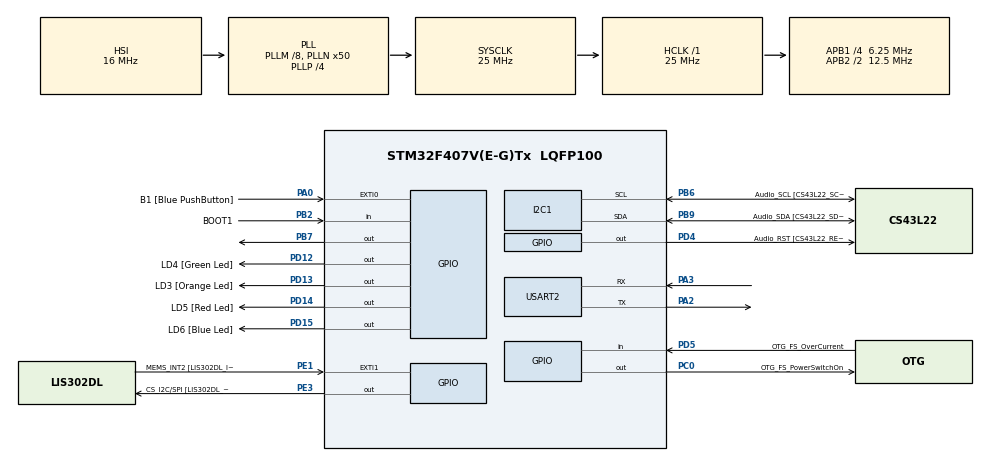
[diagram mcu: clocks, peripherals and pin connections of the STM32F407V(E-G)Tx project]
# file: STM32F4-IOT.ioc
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Mcu.Family=STM32F4
Mcu.Name=STM32F407V(E-G)Tx
Mcu.Package=LQFP100
NVIC.PriorityGroup=NVIC_PRIORITYGROUP_0
NVIC.USART2_IRQn=true\:0\:0\:false\:false\:true\:true\:true\:true
PA0-WKUP.GPIO_Label=B1 [Blue PushButton]
PA0-WKUP.Signal=GPXTI0
PA10.GPIO_Label=OTG_FS_ID
PA10.GPIO_Mode=GPIO_MODE_AF_PP
PA10.GPIO_PuPd=GPIO_NOPULL
PA10.GPIO_Speed=GPIO_SPEED_FREQ_LOW
PA10.Signal=USB_OTG_FS_ID
PA11.GPIO_Label=OTG_FS_DM
PA11.GPIO_Mode=GPIO_MODE_AF_PP
PA11.GPIO_PuPd=GPIO_NOPULL
PA11.GPIO_Speed=GPIO_SPEED_FREQ_LOW
PA11.Signal=USB_OTG_FS_DM
PA12.GPIO_Label=OTG_FS_DP
PA12.GPIO_Mode=GPIO_MODE_AF_PP
PA12.GPIO_PuPd=GPIO_NOPULL
PA12.GPIO_Speed=GPIO_SPEED_FREQ_LOW
PA12.Signal=USB_OTG_FS_DP
PA13.GPIO_Label=SWDIO
PA13.Mode=Serial_Wire
PA13.Signal=SYS_JTMS-SWDIO
PA14.GPIO_Label=SWCLK
PA14.Mode=Serial_Wire
PA14.Signal=SYS_JTCK-SWCLK
PA2.Mode=Asynchronous
PA2.Signal=USART2_TX
PA3.Mode=Asynchronous
PA3.Signal=USART2_RX
PA4.GPIO_Label=I2S3_WS [CS43L22_LRCK]
PA4.GPIO_Mode=GPIO_MODE_AF_PP
PA4.GPIO_PuPd=GPIO_NOPULL
PA4.GPIO_Speed=GPIO_SPEED_FREQ_LOW
PA4.Signal=I2S3_WS
PA5.GPIO_Label=SPI1_SCK [LIS302DL_SCL/SPC]
PA5.GPIO_Mode=GPIO_MODE_AF_PP
PA5.GPIO_PuPd=GPIO_NOPULL
PA5.GPIO_Speed=GPIO_SPEED_FREQ_LOW
PA5.Signal=SPI1_SCK
PA6.GPIO_Label=SPI1_MISO [LIS302DL_SDO]
PA6.GPIO_Mode=GPIO_MODE_AF_PP
PA6.GPIO_PuPd=GPIO_NOPULL
PA6.GPIO_Speed=GPIO_SPEED_FREQ_LOW
PA6.Signal=SPI1_MISO
PA7.GPIO_Label=SPI1_MOSI [LIS302DL_SDA/SDI/SDO]
PA7.GPIO_Mode=GPIO_MODE_AF_PP
PA7.GPIO_PuPd=GPIO_NOPULL
PA7.GPIO_Speed=GPIO_SPEED_FREQ_LOW
PA7.Signal=SPI1_MOSI
PA9.GPIO_Label=VBUS_FS
PA9.GPIO_Mode=GPIO_MODE_INPUT
PA9.GPIO_PuPd=GPIO_NOPULL
PA9.Signal=USB_OTG_FS_VBUS
PB10.GPIO_Label=CLK_IN [MP45DT02_CLK]
PB10.GPIO_Mode=GPIO_MODE_AF_PP
PB10.GPIO_PuPd=GPIO_NOPULL
PB10.GPIO_Speed=GPIO_SPEED_FREQ_LOW
PB10.Signal=I2S2_CK
PB2.GPIO_Label=BOOT1
PB2.GPIO_Mode=GPIO_MODE_INPUT
PB2.GPIO_PuPd=GPIO_NOPULL
PB2.Signal=GPIO_Input
PB3.GPIO_Label=SWO
PB3.Signal=SYS_JTDO-SWO
PB6.GPIO_Label=Audio_SCL [CS43L22_SCL]
PB6.GPIO_Mode=GPIO_MODE_AF_OD
PB6.GPIO_PuPd=GPIO_NOPULL
PB6.GPIO_Speed=GPIO_SPEED_FREQ_LOW
PB6.Mode=I2C
PB6.Signal=I2C1_SCL
PB7.Signal=GPIO_Output
PB9.GPIO_Label=Audio_SDA [CS43L22_SDA]
PB9.GPIO_Mode=GPIO_MODE_AF_OD
PB9.GPIO_PuPd=GPIO_NOPULL
PB9.GPIO_Speed=GPIO_SPEED_FREQ_LOW
PB9.Mode=I2C
PB9.Signal=I2C1_SDA
PC0.GPIO_Label=OTG_FS_PowerSwitchOn
PC0.GPIO_PuPd=GPIO_NOPULL
PC0.GPIO_Speed=GPIO_SPEED_FREQ_LOW
PC0.PinState=GPIO_PIN_SET
PC0.Signal=GPIO_Output
PC10.GPIO_Label=I2S3_SCK [CS43L22_SCLK]
PC10.GPIO_Mode=GPIO_MODE_AF_PP
PC10.GPIO_PuPd=GPIO_NOPULL
PC10.GPIO_Speed=GPIO_SPEED_FREQ_LOW
PC10.Signal=I2S3_CK
PC12.GPIO_Label=I2S3_SD [CS43L22_SDIN]
PC12.GPIO_Mode=GPIO_MODE_AF_PP
PC12.GPIO_PuPd=GPIO_NOPULL
PC12.GPIO_Speed=GPIO_SPEED_FREQ_LOW
PC12.Signal=I2S3_SD
PC14-OSC32_IN.GPIO_Label=PC14-OSC32_IN
PC14-OSC32_IN.Signal=RCC_OSC32_IN
PC15-OSC32_OUT.GPIO_Label=PC15-OSC32_OUT
PC15-OSC32_OUT.Signal=RCC_OSC32_OUT
PC3.GPIO_Label=PDM_OUT [MP45DT02_DOUT]
PC3.GPIO_Mode=GPIO_MODE_AF_PP
PC3.GPIO_PuPd=GPIO_NOPULL
PC3.GPIO_Speed=GPIO_SPEED_FREQ_LOW
PC3.Signal=I2S2_SD
PC7.GPIO_Label=I2S3_MCK [CS43L22_MCLK]
PC7.GPIO_Mode=GPIO_MODE_AF_PP
PC7.GPIO_PuPd=GPIO_NOPULL
PC7.GPIO_Speed=GPIO_SPEED_FREQ_LOW
PC7.Signal=I2S3_MCK
PD12.GPIO_Label=LD4 [Green Led]
PD12.GPIO_PuPd=GPIO_NOPULL
PD12.GPIO_Speed=GPIO_SPEED_FREQ_LOW
PD12.Signal=GPIO_Output
PD13.GPIO_Label=LD3 [Orange Led]
PD13.GPIO_PuPd=GPIO_NOPULL
PD13.GPIO_Speed=GPIO_SPEED_FREQ_LOW
PD13.Signal=GPIO_Output
PD14.GPIO_Label=LD5 [Red Led]
PD14.GPIO_PuPd=GPIO_NOPULL
PD14.GPIO_Speed=GPIO_SPEED_FREQ_LOW
PD14.Signal=GPIO_Output
PD15.GPIO_Label=LD6 [Blue Led]
PD15.GPIO_PuPd=GPIO_NOPULL
PD15.GPIO_Speed=GPIO_SPEED_FREQ_LOW
PD15.Signal=GPIO_Output
PD4.GPIO_Label=Audio_RST [CS43L22_RESET]
PD4.GPIO_PuPd=GPIO_NOPULL
PD4.GPIO_Speed=GPIO_SPEED_FREQ_LOW
PD4.Signal=GPIO_Output
PD5.GPIO_Label=OTG_FS_OverCurrent
PD5.GPIO_Mode=GPIO_MODE_INPUT
PD5.GPIO_PuPd=GPIO_NOPULL
PD5.Signal=GPIO_Input
PE1.GPIO_Label=MEMS_INT2 [LIS302DL_INT2]
PE1.GPIO_ModeDefaultEXTI=GPIO_MODE_EVT_RISING
PE1.GPIO_PuPd=GPIO_NOPULL
PE1.Signal=GPXTI1
PE3.GPIO_Label=CS_I2C/SPI [LIS302DL_CS_I2C/SPI]
PE3.GPIO_PuPd=GPIO_NOPULL
PE3.GPIO_Speed=GPIO_SPEED_FREQ_LOW
PE3.Signal=GPIO_Output
PH0-OSC_IN.GPIO_Label=PH0-OSC_IN
PH0-OSC_IN.Signal=RCC_OSC_IN
PH1-OSC_OUT.GPIO_Label=PH1-OSC_OUT
PH1-OSC_OUT.Signal=RCC_OSC_OUT
ProjectManager.HeapSize=0x200
ProjectManager.StackSize=0x400
ProjectManager.TargetToolchain=STM32CubeIDE
RCC.48MHZClocksFreq_Value=14285714.285714285
RCC.AHBFreq_Value=25000000
RCC.APB1CLKDivider=RCC_HCLK_DIV4
RCC.APB1Freq_Value=6250000
RCC.APB1TimFreq_Value=12500000
RCC.APB2CLKDivider=RCC_HCLK_DIV2
RCC.APB2Freq_Value=12500000
RCC.APB2TimFreq_Value=25000000
RCC.CortexFreq_Value=25000000
RCC.HCLKFreq_Value=25000000
RCC.HSE_VALUE=8000000
RCC.HSI_VALUE=16000000
RCC.LSE_VALUE=32768
RCC.PLLM=8
RCC.PLLN=50
RCC.PLLP=RCC_PLLP_DIV4
RCC.PLLQ=7
RCC.SYSCLKFreq_VALUE=25000000
RCC.SYSCLKSource=RCC_SYSCLKSOURCE_PLLCLK
RCC.VCOOutputFreq_Value=100000000
TIM2.Prescaler=24
USART2.VirtualMode=VM_ASYNC
VP_TIM2_VS_ClockSourceINT.Mode=Internal
VP_TIM2_VS_ClockSourceITR.Mode=TriggerSource_ITR0
board=STM32F407G-DISC1

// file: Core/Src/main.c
/* USER CODE BEGIN Header */
/**
  ******************************************************************************
  * @file           : main.c
  * @brief          : Main program body
  ******************************************************************************
  * @attention
  *
  * Copyright (c) 2025 STMicroelectronics.
  * All rights reserved.
  *
  * This software is licensed under terms that can be found in the LICENSE file
  * in the root directory of this software component.
  * If no LICENSE file comes with this software, it is provided AS-IS.
  *
  ******************************************************************************
  */
/* USER CODE END Header */
#include "main.h"

/* USER CODE BEGIN Includes */
#include "stdio.h"
#include "DS3231.h"
#include "string.h"
#include "UART_lib.h"
#include "ring_buf.h"
/* USER CODE END Includes */

I2C_HandleTypeDef hi2c1;

TIM_HandleTypeDef htim2;

UART_HandleTypeDef huart2;

void SystemClock_Config(void);
static void MX_GPIO_Init(void);
static void MX_I2C1_Init(void);
static void MX_USART2_UART_Init(void);
static void MX_TIM2_Init(void);

/* USER CODE BEGIN 0 */
DateTime_t dt;
uint8_t rxByte;
CIRC_BBUF_DEF(my_circ_buf, 32);

void HAL_UART_RxCpltCallback(UART_HandleTypeDef *huart){
	if(huart->Instance == USART2){
		static uint8_t flagLog = 0;
		if(rxByte == START_BYTE){
			flagLog = 1;
		}
		if(flagLog == 1){
			circ_bbuf_push(&my_circ_buf, rxByte);
		}

		if(rxByte == END_BYTE){
//			UART_ReceiveFrame(&my_circ_buf);
			flagLog = 0;
		}
		HAL_UART_Receive_IT(&huart2, &rxByte, 1);
	}
}

void MyFrameHandler(uint8_t cmd, uint8_t *data, uint8_t len){
	switch (cmd) {
		case CMD_TIME:
			DS3231_ReadTime(&dt);
			UART_SendFrame(CMD_TIME_RESP, (uint8_t*)&dt, sizeof(dt));
			break;
		case CMD_TEMP:
			DS3231_ReadTemp(&dt);
			UART_SendFrame(CMD_TEMP_RESP, (uint8_t*)&dt, sizeof(dt));
			break;
		case CMD_LED:{
			static uint8_t led_state = 0; // mặc định tắt
			if(strncmp((char*)data,"ON", 2) == 0){
				led_state = LED_ON;
				//TURN ON
				HAL_GPIO_WritePin(GPIOD, GPIO_PIN_15, GPIO_PIN_SET);

			}else if(strncmp((char*)data,"OFF", 3) == 0){
				//TURN OFF
				led_state = LED_OFF;
				HAL_GPIO_WritePin(GPIOD, GPIO_PIN_15, GPIO_PIN_RESET);
			}
			UART_SendFrame(CMD_LED_RESP, (uint8_t*)&led_state, sizeof(led_state));
			break;
		}
		default:
			break;
	}
}

/* USER CODE END 0 */

int main(void)
{

  /* MCU Configuration--------------------------------------------------------*/

  /* Reset of all peripherals, Initializes the Flash interface and the Systick. */
  HAL_Init();

  /* Configure the system clock */
  SystemClock_Config();

  /* Initialize all configured peripherals */
  MX_GPIO_Init();
  MX_I2C1_Init();
  MX_USART2_UART_Init();
  MX_TIM2_Init();
  /* USER CODE BEGIN 2 */
  DS3231_Init(&dt);
//  DS3231_Write(&dt);

  // Đăng ký callback
  UART_RegisterCallback(MyFrameHandler);

  /* USER CODE END 2 */

  /* Infinite loop */
  /* USER CODE BEGIN WHILE */
  HAL_UART_Receive_IT(&huart2, &rxByte, 1);

  while (1)
  {
    /* USER CODE END WHILE */

    /* USER CODE BEGIN 3 */
	 if(rxByte == END_BYTE){
		 UART_ReceiveFrame(&my_circ_buf);
	 }
  }
  /* USER CODE END 3 */
}

void SystemClock_Config(void)
{
  RCC_OscInitTypeDef RCC_OscInitStruct = {0};
  RCC_ClkInitTypeDef RCC_ClkInitStruct = {0};

  /** Configure the main internal regulator output voltage
  */
  __HAL_RCC_PWR_CLK_ENABLE();
  __HAL_PWR_VOLTAGESCALING_CONFIG(PWR_REGULATOR_VOLTAGE_SCALE1);

  /** Initializes the RCC Oscillators according to the specified parameters
  * in the RCC_OscInitTypeDef structure.
  */
  RCC_OscInitStruct.OscillatorType = RCC_OSCILLATORTYPE_HSI;
  RCC_OscInitStruct.HSIState = RCC_HSI_ON;
  RCC_OscInitStruct.HSICalibrationValue = RCC_HSICALIBRATION_DEFAULT;
  RCC_OscInitStruct.PLL.PLLState = RCC_PLL_ON;
  RCC_OscInitStruct.PLL.PLLSource = RCC_PLLSOURCE_HSI;
  RCC_OscInitStruct.PLL.PLLM = 8;
  RCC_OscInitStruct.PLL.PLLN = 50;
  RCC_OscInitStruct.PLL.PLLP = RCC_PLLP_DIV4;
  RCC_OscInitStruct.PLL.PLLQ = 7;
  if (HAL_RCC_OscConfig(&RCC_OscInitStruct) != HAL_OK)
  {
    Error_Handler();
  }

  /** Initializes the CPU, AHB and APB buses clocks
  */
  RCC_ClkInitStruct.ClockType = RCC_CLOCKTYPE_HCLK|RCC_CLOCKTYPE_SYSCLK
                              |RCC_CLOCKTYPE_PCLK1|RCC_CLOCKTYPE_PCLK2;
  RCC_ClkInitStruct.SYSCLKSource = RCC_SYSCLKSOURCE_PLLCLK;
  RCC_ClkInitStruct.AHBCLKDivider = RCC_SYSCLK_DIV1;
  RCC_ClkInitStruct.APB1CLKDivider = RCC_HCLK_DIV4;
  RCC_ClkInitStruct.APB2CLKDivider = RCC_HCLK_DIV2;

  if (HAL_RCC_ClockConfig(&RCC_ClkInitStruct, FLASH_LATENCY_0) != HAL_OK)
  {
    Error_Handler();
  }
}

static void MX_I2C1_Init(void)
{

  hi2c1.Instance = I2C1;
  hi2c1.Init.ClockSpeed = 100000;
  hi2c1.Init.DutyCycle = I2C_DUTYCYCLE_2;
  hi2c1.Init.OwnAddress1 = 0;
  hi2c1.Init.AddressingMode = I2C_ADDRESSINGMODE_7BIT;
  hi2c1.Init.DualAddressMode = I2C_DUALADDRESS_DISABLE;
  hi2c1.Init.OwnAddress2 = 0;
  hi2c1.Init.GeneralCallMode = I2C_GENERALCALL_DISABLE;
  hi2c1.Init.NoStretchMode = I2C_NOSTRETCH_DISABLE;
  if (HAL_I2C_Init(&hi2c1) != HAL_OK)
  {
    Error_Handler();
  }

}

static void MX_TIM2_Init(void)
{

  TIM_ClockConfigTypeDef sClockSourceConfig = {0};
  TIM_SlaveConfigTypeDef sSlaveConfig = {0};
  TIM_MasterConfigTypeDef sMasterConfig = {0};

  htim2.Instance = TIM2;
  htim2.Init.Prescaler = 24;
  htim2.Init.CounterMode = TIM_COUNTERMODE_UP;
  htim2.Init.Period = 4294967295;
  htim2.Init.ClockDivision = TIM_CLOCKDIVISION_DIV1;
  htim2.Init.AutoReloadPreload = TIM_AUTORELOAD_PRELOAD_DISABLE;
  if (HAL_TIM_Base_Init(&htim2) != HAL_OK)
  {
    Error_Handler();
  }
  sClockSourceConfig.ClockSource = TIM_CLOCKSOURCE_INTERNAL;
  if (HAL_TIM_ConfigClockSource(&htim2, &sClockSourceConfig) != HAL_OK)
  {
    Error_Handler();
  }
  sSlaveConfig.SlaveMode = TIM_SLAVEMODE_DISABLE;
  sSlaveConfig.InputTrigger = TIM_TS_ITR0;
  if (HAL_TIM_SlaveConfigSynchro(&htim2, &sSlaveConfig) != HAL_OK)
  {
    Error_Handler();
  }
  sMasterConfig.MasterOutputTrigger = TIM_TRGO_RESET;
  sMasterConfig.MasterSlaveMode = TIM_MASTERSLAVEMODE_DISABLE;
  if (HAL_TIMEx_MasterConfigSynchronization(&htim2, &sMasterConfig) != HAL_OK)
  {
    Error_Handler();
  }

}

static void MX_USART2_UART_Init(void)
{

  huart2.Instance = USART2;
  huart2.Init.BaudRate = 115200;
  huart2.Init.WordLength = UART_WORDLENGTH_8B;
  huart2.Init.StopBits = UART_STOPBITS_1;
  huart2.Init.Parity = UART_PARITY_NONE;
  huart2.Init.Mode = UART_MODE_TX_RX;
  huart2.Init.HwFlowCtl = UART_HWCONTROL_NONE;
  huart2.Init.OverSampling = UART_OVERSAMPLING_16;
  if (HAL_UART_Init(&huart2) != HAL_OK)
  {
    Error_Handler();
  }

}

static void MX_GPIO_Init(void)
{
  GPIO_InitTypeDef GPIO_InitStruct = {0};

  /* GPIO Ports Clock Enable */
  __HAL_RCC_GPIOE_CLK_ENABLE();
  __HAL_RCC_GPIOC_CLK_ENABLE();
  __HAL_RCC_GPIOH_CLK_ENABLE();
  __HAL_RCC_GPIOA_CLK_ENABLE();
  __HAL_RCC_GPIOB_CLK_ENABLE();
  __HAL_RCC_GPIOD_CLK_ENABLE();

  /*Configure GPIO pin Output Level */
  HAL_GPIO_WritePin(CS_I2C_SPI_GPIO_Port, CS_I2C_SPI_Pin, GPIO_PIN_RESET);

  /*Configure GPIO pin Output Level */
  HAL_GPIO_WritePin(OTG_FS_PowerSwitchOn_GPIO_Port, OTG_FS_PowerSwitchOn_Pin, GPIO_PIN_SET);

  /*Configure GPIO pin Output Level */
  HAL_GPIO_WritePin(GPIOD, LD4_Pin|LD3_Pin|LD5_Pin|LD6_Pin
                          |Audio_RST_Pin, GPIO_PIN_RESET);

  /*Configure GPIO pin Output Level */
  HAL_GPIO_WritePin(GPIOB, GPIO_PIN_7, GPIO_PIN_RESET);

  /*Configure GPIO pin : CS_I2C_SPI_Pin */
  GPIO_InitStruct.Pin = CS_I2C_SPI_Pin;
  GPIO_InitStruct.Mode = GPIO_MODE_OUTPUT_PP;
  GPIO_InitStruct.Pull = GPIO_NOPULL;
  GPIO_InitStruct.Speed = GPIO_SPEED_FREQ_LOW;
  HAL_GPIO_Init(CS_I2C_SPI_GPIO_Port, &GPIO_InitStruct);

  /*Configure GPIO pin : OTG_FS_PowerSwitchOn_Pin */
  GPIO_InitStruct.Pin = OTG_FS_PowerSwitchOn_Pin;
  GPIO_InitStruct.Mode = GPIO_MODE_OUTPUT_PP;
  GPIO_InitStruct.Pull = GPIO_NOPULL;
  GPIO_InitStruct.Speed = GPIO_SPEED_FREQ_LOW;
  HAL_GPIO_Init(OTG_FS_PowerSwitchOn_GPIO_Port, &GPIO_InitStruct);

  /*Configure GPIO pin : PDM_OUT_Pin */
  GPIO_InitStruct.Pin = PDM_OUT_Pin;
  GPIO_InitStruct.Mode = GPIO_MODE_AF_PP;
  GPIO_InitStruct.Pull = GPIO_NOPULL;
  GPIO_InitStruct.Speed = GPIO_SPEED_FREQ_LOW;
  GPIO_InitStruct.Alternate = GPIO_AF5_SPI2;
  HAL_GPIO_Init(PDM_OUT_GPIO_Port, &GPIO_InitStruct);

  /*Configure GPIO pin : B1_Pin */
  GPIO_InitStruct.Pin = B1_Pin;
  GPIO_InitStruct.Mode = GPIO_MODE_IT_RISING;
  GPIO_InitStruct.Pull = GPIO_NOPULL;
  HAL_GPIO_Init(B1_GPIO_Port, &GPIO_InitStruct);

  /*Configure GPIO pin : I2S3_WS_Pin */
  GPIO_InitStruct.Pin = I2S3_WS_Pin;
  GPIO_InitStruct.Mode = GPIO_MODE_AF_PP;
  GPIO_InitStruct.Pull = GPIO_NOPULL;
  GPIO_InitStruct.Speed = GPIO_SPEED_FREQ_LOW;
  GPIO_InitStruct.Alternate = GPIO_AF6_SPI3;
  HAL_GPIO_Init(I2S3_WS_GPIO_Port, &GPIO_InitStruct);

  /*Configure GPIO pins : SPI1_SCK_Pin SPI1_MISO_Pin SPI1_MOSI_Pin */
  GPIO_InitStruct.Pin = SPI1_SCK_Pin|SPI1_MISO_Pin|SPI1_MOSI_Pin;
  GPIO_InitStruct.Mode = GPIO_MODE_AF_PP;
  GPIO_InitStruct.Pull = GPIO_NOPULL;
  GPIO_InitStruct.Speed = GPIO_SPEED_FREQ_LOW;
  GPIO_InitStruct.Alternate = GPIO_AF5_SPI1;
  HAL_GPIO_Init(GPIOA, &GPIO_InitStruct);

  /*Configure GPIO pin : BOOT1_Pin */
  GPIO_InitStruct.Pin = BOOT1_Pin;
  GPIO_InitStruct.Mode = GPIO_MODE_INPUT;
  GPIO_InitStruct.Pull = GPIO_NOPULL;
  HAL_GPIO_Init(BOOT1_GPIO_Port, &GPIO_InitStruct);

  /*Configure GPIO pin : CLK_IN_Pin */
  GPIO_InitStruct.Pin = CLK_IN_Pin;
  GPIO_InitStruct.Mode = GPIO_MODE_AF_PP;
  GPIO_InitStruct.Pull = GPIO_NOPULL;
  GPIO_InitStruct.Speed = GPIO_SPEED_FREQ_LOW;
  GPIO_InitStruct.Alternate = GPIO_AF5_SPI2;
  HAL_GPIO_Init(CLK_IN_GPIO_Port, &GPIO_InitStruct);

  /*Configure GPIO pins : LD4_Pin LD3_Pin LD5_Pin LD6_Pin
                           Audio_RST_Pin */
  GPIO_InitStruct.Pin = LD4_Pin|LD3_Pin|LD5_Pin|LD6_Pin
                          |Audio_RST_Pin;
  GPIO_InitStruct.Mode = GPIO_MODE_OUTPUT_PP;
  GPIO_InitStruct.Pull = GPIO_NOPULL;
  GPIO_InitStruct.Speed = GPIO_SPEED_FREQ_LOW;
  HAL_GPIO_Init(GPIOD, &GPIO_InitStruct);

  /*Configure GPIO pins : I2S3_MCK_Pin I2S3_SCK_Pin I2S3_SD_Pin */
  GPIO_InitStruct.Pin = I2S3_MCK_Pin|I2S3_SCK_Pin|I2S3_SD_Pin;
  GPIO_InitStruct.Mode = GPIO_MODE_AF_PP;
  GPIO_InitStruct.Pull = GPIO_NOPULL;
  GPIO_InitStruct.Speed = GPIO_SPEED_FREQ_LOW;
  GPIO_InitStruct.Alternate = GPIO_AF6_SPI3;
  HAL_GPIO_Init(GPIOC, &GPIO_InitStruct);

  /*Configure GPIO pin : VBUS_FS_Pin */
  GPIO_InitStruct.Pin = VBUS_FS_Pin;
  GPIO_InitStruct.Mode = GPIO_MODE_INPUT;
  GPIO_InitStruct.Pull = GPIO_NOPULL;
  HAL_GPIO_Init(VBUS_FS_GPIO_Port, &GPIO_InitStruct);

  /*Configure GPIO pins : OTG_FS_ID_Pin OTG_FS_DM_Pin OTG_FS_DP_Pin */
  GPIO_InitStruct.Pin = OTG_FS_ID_Pin|OTG_FS_DM_Pin|OTG_FS_DP_Pin;
  GPIO_InitStruct.Mode = GPIO_MODE_AF_PP;
  GPIO_InitStruct.Pull = GPIO_NOPULL;
  GPIO_InitStruct.Speed = GPIO_SPEED_FREQ_LOW;
  GPIO_InitStruct.Alternate = GPIO_AF10_OTG_FS;
  HAL_GPIO_Init(GPIOA, &GPIO_InitStruct);

  /*Configure GPIO pin : OTG_FS_OverCurrent_Pin */
  GPIO_InitStruct.Pin = OTG_FS_OverCurrent_Pin;
  GPIO_InitStruct.Mode = GPIO_MODE_INPUT;
  GPIO_InitStruct.Pull = GPIO_NOPULL;
  HAL_GPIO_Init(OTG_FS_OverCurrent_GPIO_Port, &GPIO_InitStruct);

//  /*Configure GPIO pin : PB7 */
//  GPIO_InitStruct.Pin = GPIO_PIN_7;
//  GPIO_InitStruct.Mode = GPIO_MODE_OUTPUT_PP;
//  GPIO_InitStruct.Pull = GPIO_NOPULL;
//  GPIO_InitStruct.Speed = GPIO_SPEED_FREQ_LOW;
//  HAL_GPIO_Init(GPIOB, &GPIO_InitStruct);

  /*Configure GPIO pin : MEMS_INT2_Pin */
  GPIO_InitStruct.Pin = MEMS_INT2_Pin;
  GPIO_InitStruct.Mode = GPIO_MODE_EVT_RISING;
  GPIO_InitStruct.Pull = GPIO_NOPULL;
  HAL_GPIO_Init(MEMS_INT2_GPIO_Port, &GPIO_InitStruct);

}

void Error_Handler(void)
{
  __disable_irq();
  while (1)
  {
  }
}
